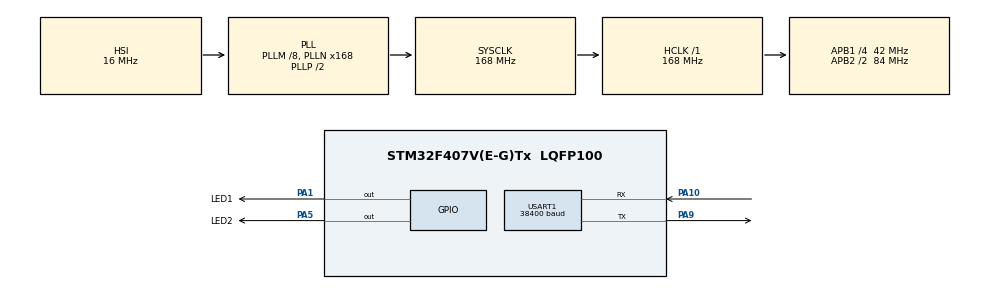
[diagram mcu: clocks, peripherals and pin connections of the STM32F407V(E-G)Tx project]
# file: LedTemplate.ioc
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Mcu.Family=STM32F4
Mcu.Name=STM32F407V(E-G)Tx
Mcu.Package=LQFP100
NVIC.PriorityGroup=NVIC_PRIORITYGROUP_4
NVIC.USART1_IRQn=true\:0\:0\:false\:false\:false\:true
PA1.GPIO_Label=LED1
PA1.GPIO_Speed=GPIO_SPEED_FREQ_HIGH
PA1.Signal=GPIO_Output
PA10.Mode=Asynchronous
PA10.Signal=USART1_RX
PA13.Mode=Serial_Wire
PA13.Signal=SYS_JTMS-SWDIO
PA14.Mode=Serial_Wire
PA14.Signal=SYS_JTCK-SWCLK
PA5.GPIO_Label=LED2
PA5.GPIO_Speed=GPIO_SPEED_FREQ_HIGH
PA5.Signal=GPIO_Output
PA9.Mode=Asynchronous
PA9.Signal=USART1_TX
PH0-OSC_IN.Mode=HSE-External-Oscillator
PH0-OSC_IN.Signal=RCC_OSC_IN
PH1-OSC_OUT.Mode=HSE-External-Oscillator
PH1-OSC_OUT.Signal=RCC_OSC_OUT
ProjectManager.HeapSize=0x200
ProjectManager.StackSize=0x400
ProjectManager.TargetToolchain=TrueSTUDIO
RCC.48MHZClocksFreq_Value=84000000
RCC.AHBFreq_Value=168000000
RCC.APB1CLKDivider=RCC_HCLK_DIV4
RCC.APB1Freq_Value=42000000
RCC.APB1TimFreq_Value=84000000
RCC.APB2CLKDivider=RCC_HCLK_DIV2
RCC.APB2Freq_Value=84000000
RCC.APB2TimFreq_Value=168000000
RCC.CortexFreq_Value=168000000
RCC.HCLKFreq_Value=168000000
RCC.HSE_VALUE=8000000
RCC.HSI_VALUE=16000000
RCC.LSE_VALUE=32768
RCC.PLLM=8
RCC.PLLN=168
RCC.SYSCLKFreq_VALUE=168000000
RCC.SYSCLKSource=RCC_SYSCLKSOURCE_PLLCLK
RCC.VCOOutputFreq_Value=336000000
USART1.BaudRate=38400
USART1.VirtualMode=VM_ASYNC
board=custom

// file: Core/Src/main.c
/**
  ******************************************************************************
  * @file           : main.c
  * @brief          : Main program body
  ******************************************************************************
  ** This notice applies to any and all portions of this file
  * that are not between comment pairs USER CODE BEGIN and
  * USER CODE END. Other portions of this file, whether
  * inserted by the user or by software development tools
  * are owned by their respective copyright owners.
  *
  * COPYRIGHT(c) 2018 STMicroelectronics
  *
  * Redistribution and use in source and binary forms, with or without modification,
  * are permitted provided that the following conditions are met:
  *   1. Redistributions of source code must retain the above copyright notice,
  *      this list of conditions and the following disclaimer.
  *   2. Redistributions in binary form must reproduce the above copyright notice,
  *      this list of conditions and the following disclaimer in the documentation
  *      and/or other materials provided with the distribution.
  *   3. Neither the name of STMicroelectronics nor the names of its contributors
  *      may be used to endorse or promote products derived from this software
  *      without specific prior written permission.
  *
  * THIS SOFTWARE IS PROVIDED BY THE COPYRIGHT HOLDERS AND CONTRIBUTORS "AS IS"
  * AND ANY EXPRESS OR IMPLIED WARRANTIES, INCLUDING, BUT NOT LIMITED TO, THE
  * IMPLIED WARRANTIES OF MERCHANTABILITY AND FITNESS FOR A PARTICULAR PURPOSE ARE
  * DISCLAIMED. IN NO EVENT SHALL THE COPYRIGHT HOLDER OR CONTRIBUTORS BE LIABLE
  * FOR ANY DIRECT, INDIRECT, INCIDENTAL, SPECIAL, EXEMPLARY, OR CONSEQUENTIAL
  * DAMAGES (INCLUDING, BUT NOT LIMITED TO, PROCUREMENT OF SUBSTITUTE GOODS OR
  * SERVICES; LOSS OF USE, DATA, OR PROFITS; OR BUSINESS INTERRUPTION) HOWEVER
  * CAUSED AND ON ANY THEORY OF LIABILITY, WHETHER IN CONTRACT, STRICT LIABILITY,
  * OR TORT (INCLUDING NEGLIGENCE OR OTHERWISE) ARISING IN ANY WAY OUT OF THE USE
  * OF THIS SOFTWARE, EVEN IF ADVISED OF THE POSSIBILITY OF SUCH DAMAGE.
  *
  ******************************************************************************
  */
#include "main.h"
#include "stm32f4xx_hal.h"

/* USER CODE BEGIN Includes */
#include "FreeRTOS.h"
#include "task.h"
#include "uart.h"
/* USER CODE END Includes */

UART_HandleTypeDef huart1;

/* USER CODE BEGIN PV */
/* Private variables ---------------------------------------------------------*/

/* USER CODE END PV */

void SystemClock_Config(void);
static void MX_GPIO_Init(void);
static void MX_USART1_UART_Init(void);

/* USER CODE BEGIN PFP */
/* Private function prototypes -----------------------------------------------*/

/* USER CODE END PFP */

/* USER CODE BEGIN 0 */

#define START_TASK_PRIORITY   1
#define START_TASK_STACK_SIZE 256
TaskHandle_t startTaskHandler;
void start_task(void *pvParameter); //task function

#define LED1_TASK_PRIORITY 	 2
#define LED1_TASK_STACK_SIZE 256
TaskHandle_t led1TaskHandler;
void led1_task(void *pvParameter); //task function

#define LED2_TASK_PRIORITY 	 3
#define LED2_TASK_STACK_SIZE 256
TaskHandle_t led2TaskHandler;
void led2_task(void *pvParameter); //task function

/* USER CODE END 0 */

int main(void)
{

  /* MCU Configuration----------------------------------------------------------*/

  /* Reset of all peripherals, Initializes the Flash interface and the Systick. */
  HAL_Init();

  /* Configure the system clock */
  SystemClock_Config();

  /* Initialize all configured peripherals */
  MX_GPIO_Init();
  MX_USART1_UART_Init();
  /* USER CODE BEGIN 2 */
	xTaskCreate(
				(TaskFunction_t)start_task,
				(const char *)"start_task",
				 START_TASK_STACK_SIZE,
				(void *)NULL,
				 START_TASK_PRIORITY,
				(TaskHandle_t *)&startTaskHandler);
	vTaskStartScheduler();
  /* USER CODE END 2 */

  /* Infinite loop */
  while (1)
  {

  /* USER CODE BEGIN 3 */
	  HAL_GPIO_TogglePin(GPIOA, LED2_Pin|LED1_Pin);
	  HAL_Delay(500);

  }
  /* USER CODE END 3 */

}

void SystemClock_Config(void)
{

  RCC_OscInitTypeDef RCC_OscInitStruct;
  RCC_ClkInitTypeDef RCC_ClkInitStruct;

    /**Configure the main internal regulator output voltage
    */
  __HAL_RCC_PWR_CLK_ENABLE();

  __HAL_PWR_VOLTAGESCALING_CONFIG(PWR_REGULATOR_VOLTAGE_SCALE1);

    /**Initializes the CPU, AHB and APB busses clocks
    */
  RCC_OscInitStruct.OscillatorType = RCC_OSCILLATORTYPE_HSI;
  RCC_OscInitStruct.HSIState = RCC_HSI_ON;
  RCC_OscInitStruct.HSICalibrationValue = 16;
  RCC_OscInitStruct.PLL.PLLState = RCC_PLL_ON;
  RCC_OscInitStruct.PLL.PLLSource = RCC_PLLSOURCE_HSI;
  RCC_OscInitStruct.PLL.PLLM = 8;
  RCC_OscInitStruct.PLL.PLLN = 168;
  RCC_OscInitStruct.PLL.PLLP = RCC_PLLP_DIV2;
  RCC_OscInitStruct.PLL.PLLQ = 4;
  if (HAL_RCC_OscConfig(&RCC_OscInitStruct) != HAL_OK)
  {
    _Error_Handler(__FILE__, __LINE__);
  }

    /**Initializes the CPU, AHB and APB busses clocks
    */
  RCC_ClkInitStruct.ClockType = RCC_CLOCKTYPE_HCLK|RCC_CLOCKTYPE_SYSCLK
                              |RCC_CLOCKTYPE_PCLK1|RCC_CLOCKTYPE_PCLK2;
  RCC_ClkInitStruct.SYSCLKSource = RCC_SYSCLKSOURCE_PLLCLK;
  RCC_ClkInitStruct.AHBCLKDivider = RCC_SYSCLK_DIV1;
  RCC_ClkInitStruct.APB1CLKDivider = RCC_HCLK_DIV4;
  RCC_ClkInitStruct.APB2CLKDivider = RCC_HCLK_DIV2;

  if (HAL_RCC_ClockConfig(&RCC_ClkInitStruct, FLASH_LATENCY_5) != HAL_OK)
  {
    _Error_Handler(__FILE__, __LINE__);
  }

    /**Configure the Systick interrupt time
    */
  HAL_SYSTICK_Config(HAL_RCC_GetHCLKFreq()/1000);

    /**Configure the Systick
    */
  HAL_SYSTICK_CLKSourceConfig(SYSTICK_CLKSOURCE_HCLK);

  /* SysTick_IRQn interrupt configuration */
  HAL_NVIC_SetPriority(SysTick_IRQn, 0, 0);
}

/* USART1 init function */
static void MX_USART1_UART_Init(void)
{

  huart1.Instance = USART1;
  huart1.Init.BaudRate = 38400;
  huart1.Init.WordLength = UART_WORDLENGTH_8B;
  huart1.Init.StopBits = UART_STOPBITS_1;
  huart1.Init.Parity = UART_PARITY_NONE;
  huart1.Init.Mode = UART_MODE_TX_RX;
  huart1.Init.HwFlowCtl = UART_HWCONTROL_NONE;
  huart1.Init.OverSampling = UART_OVERSAMPLING_16;
  if (HAL_UART_Init(&huart1) != HAL_OK)
  {
    _Error_Handler(__FILE__, __LINE__);
  }

}

/** Configure pins as
        * Analog
        * Input
        * Output
        * EVENT_OUT
        * EXTI
*/
static void MX_GPIO_Init(void)
{

  GPIO_InitTypeDef GPIO_InitStruct;

  /* GPIO Ports Clock Enable */
  __HAL_RCC_GPIOH_CLK_ENABLE();
  __HAL_RCC_GPIOA_CLK_ENABLE();

  /*Configure GPIO pin Output Level */
  HAL_GPIO_WritePin(GPIOA, LED1_Pin|LED2_Pin, GPIO_PIN_RESET);

  /*Configure GPIO pins : LED1_Pin LED2_Pin */
  GPIO_InitStruct.Pin = LED1_Pin|LED2_Pin;
  GPIO_InitStruct.Mode = GPIO_MODE_OUTPUT_PP;
  GPIO_InitStruct.Pull = GPIO_NOPULL;
  GPIO_InitStruct.Speed = GPIO_SPEED_FREQ_HIGH;
  HAL_GPIO_Init(GPIOA, &GPIO_InitStruct);

}

/* USER CODE BEGIN 4 */
void start_task(void *pvParameter)
{
	taskENTER_CRITICAL();

	xTaskCreate(
				(TaskFunction_t)led1_task,
				(const char *)"led1_task",
				 LED1_TASK_STACK_SIZE,
				(void *)NULL,
				 LED1_TASK_PRIORITY,
				(TaskHandle_t *)&led1TaskHandler);

	xTaskCreate(
				(TaskFunction_t)led2_task,
				(const char *)"led2_task",
				 LED2_TASK_STACK_SIZE,
				(void *)NULL,
				 LED2_TASK_PRIORITY,
				(TaskHandle_t *)&led2TaskHandler);

	vTaskDelete(startTaskHandler);

	taskEXIT_CRITICAL();
}

void led1_task(void *pvParameter)
{
	while(1)
	{
		HAL_GPIO_TogglePin(GPIOA, LED1_Pin);
		vTaskDelay(500/portTICK_PERIOD_MS);
	}
}

void led2_task(void *pvParameter)
{
	int i = 0;
	while(1)
	{
		HAL_GPIO_TogglePin(GPIOA, LED2_Pin);
		myprintf("test = %d\n",i++);
		vTaskDelay(1000/portTICK_PERIOD_MS);
	}
}
/* USER CODE END 4 */

void _Error_Handler(char *file, int line)
{
  while(1)
  {
  }
}

/************************ (C) COPYRIGHT STMicroelectronics *****END OF FILE****/
